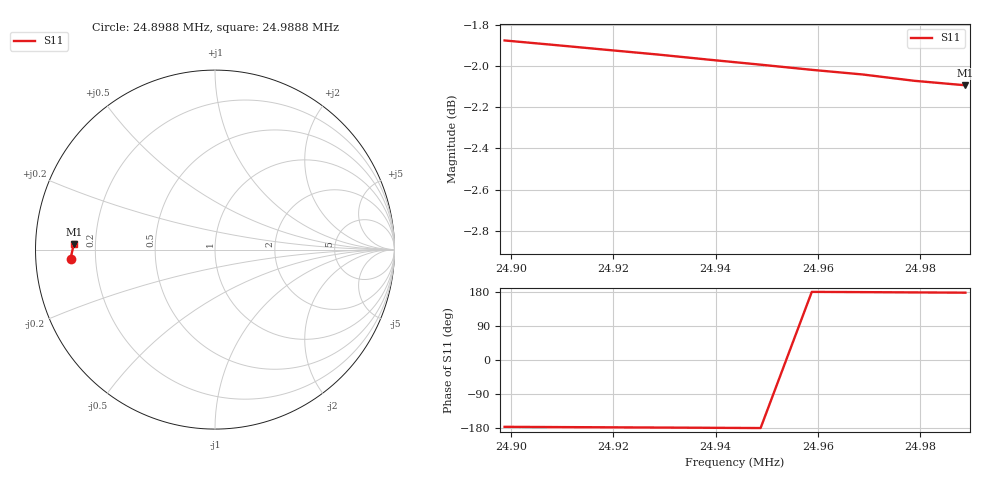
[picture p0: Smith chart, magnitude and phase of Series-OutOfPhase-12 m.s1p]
# HZ S RI R 50
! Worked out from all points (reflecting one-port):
!   10 points, 24.8988 MHz to 24.9888 MHz, reference 50 ohm
!   lowest |S11| = -2.1 dB at 24.9888 MHz (marker M1), VSWR 8.34, Z = 6 + j1 ohm
!   phase of S11 starts at -176 deg and turns -6 deg over the sweep
2.489876e7  -0.8042 -0.0515
2.490876e7  -0.8026 -0.0421
2.491876e7  -0.8009 -0.0336
2.492877e7  -0.7991 -0.0246
2.493877e7  -0.797 -0.0154
2.494878e7  -0.7949 -0.00614
2.495878e7  -0.7927 0.00325
2.496878e7  -0.7905 0.0126
2.497879e7  -0.7875 0.0224
2.498879e7  -0.7852 0.0319
